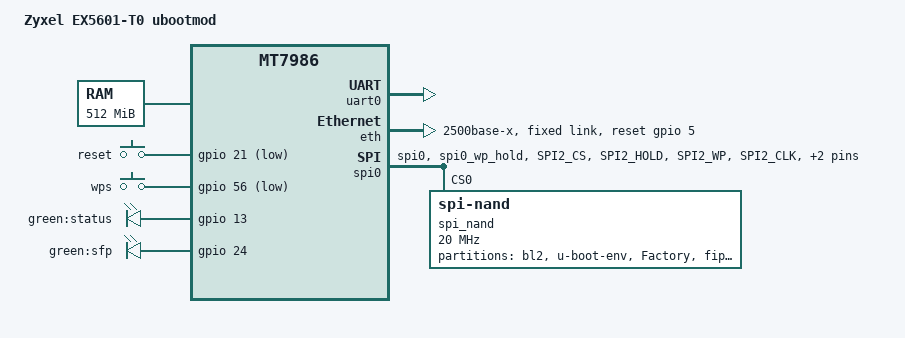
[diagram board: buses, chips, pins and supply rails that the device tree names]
// SPDX-License-Identifier: GPL-2.0
/*
 * Author: Valerio 'ftp21' Mancini <ftp21@ftp21.eu>
 * Author: Nicolò Veronese <nicveronese@gmail.com>
 */

/dts-v1/;
#include <dt-bindings/input/linux-event-codes.h>
#include "mt7986.dtsi"
#include <dt-bindings/gpio/gpio.h>

/ {
	#address-cells = <1>;
	#size-cells = <1>;
	model = "Zyxel EX5601-T0 ubootmod";
	compatible = "mediatek,mt7986", "mediatek,mt7986-sd-rfb";

	chosen {
		stdout-path = &uart0;
		tick-timer = &timer0;
	};

	memory@40000000 {
		device_type = "memory";
		reg = <0x40000000 0x20000000>;
	};

	keys {
		compatible = "gpio-keys";
		factory {
			label = "reset";
			gpios = <&gpio 21 GPIO_ACTIVE_LOW>;
			linux,code = <KEY_RESTART>;
		};

		wps {
			label = "wps";
			gpios = <&gpio 56 GPIO_ACTIVE_LOW>;
			linux,code = <KEY_WPS_BUTTON>;
		};
	};

	leds {
		compatible = "gpio-leds";

		led_status_green: pwr {
			label = "green:status";
			gpios = <&gpio 13 GPIO_ACTIVE_HIGH>;
			default-state = "off";
		};

		led_sfp_green: sfp {
			label = "green:sfp";
			gpios = <&gpio 24 GPIO_ACTIVE_HIGH>;
			default-state = "off";
		};
	};
};

&uart0 {
	mediatek,force-highspeed;
	status = "okay";
};

&uart1 {
	pinctrl-names = "default";
	pinctrl-0 = <&uart1_pins>;
	status = "disabled";
};

&eth {
	status = "okay";
	mediatek,gmac-id = <0>;
	phy-mode = "2500base-x";
	mediatek,switch = "mt7531";
	reset-gpios = <&gpio 5 GPIO_ACTIVE_HIGH>;

	fixed-link {
		speed = <2500>;
		full-duplex;
	};
};

&pinctrl {
	spic_pins: spi1-pins-func-1 {
		mux {
			function = "spi";
			groups = "spi1_2";
		};
	};

	uart1_pins: spi1-pins-func-3 {
		mux {
			function = "uart";
			groups = "uart1_2";
		};
	};

	spi_flash_pins: spi0-pins-func-1 {
		mux {
			function = "flash";
			groups = "spi0", "spi0_wp_hold";
		};

		conf-pu {
			pins = "SPI2_CS", "SPI2_HOLD", "SPI2_WP";
			drive-strength = <MTK_DRIVE_8mA>;
			bias-pull-up = <MTK_PUPD_SET_R1R0_00>;
		};

		conf-pd {
			pins = "SPI2_CLK", "SPI2_MOSI", "SPI2_MISO";
			drive-strength = <MTK_DRIVE_8mA>;
			bias-pull-down = <MTK_PUPD_SET_R1R0_00>;
		};
	};
};

&spi0 {
	#address-cells = <1>;
	#size-cells = <0>;
	pinctrl-names = "default";
	pinctrl-0 = <&spi_flash_pins>;
	status = "okay";
	must_tx;
	enhance_timing;
	dma_ext;
	ipm_design;
	support_quad;
	tick_dly = <1>;
	sample_sel = <0>;

	spi_nand@0 {
		compatible = "spi-nand";
		reg = <0>;
		spi-max-frequency = <20000000>;
		spi-tx-buswidth = <4>;
		spi-rx-buswidth = <4>;

		partitions {
			compatible = "fixed-partitions";
			#address-cells = <1>;
			#size-cells = <1>;

			partition@0 {
				label = "bl2";
				reg = <0x0 0x100000>;
			};

			partition@100000 {
				label = "u-boot-env";
				reg = <0x0100000 0x0080000>;
			};

			partition@180000 {
				label = "Factory";
				reg = <0x180000 0x0200000>;
			};

			partition@380000 {
				label = "fip";
				reg = <0x380000 0x0200000>;
			};

			partition@540000 {
				label = "zloader";
				reg = <0x540000 0x0040000>;
				read-only;
			};
			partition@580000 {
				label = "ubi";
				reg = <0x580000 0x1da80000>;
			};
		};
	};
};

&watchdog {
	status = "disabled";
};

